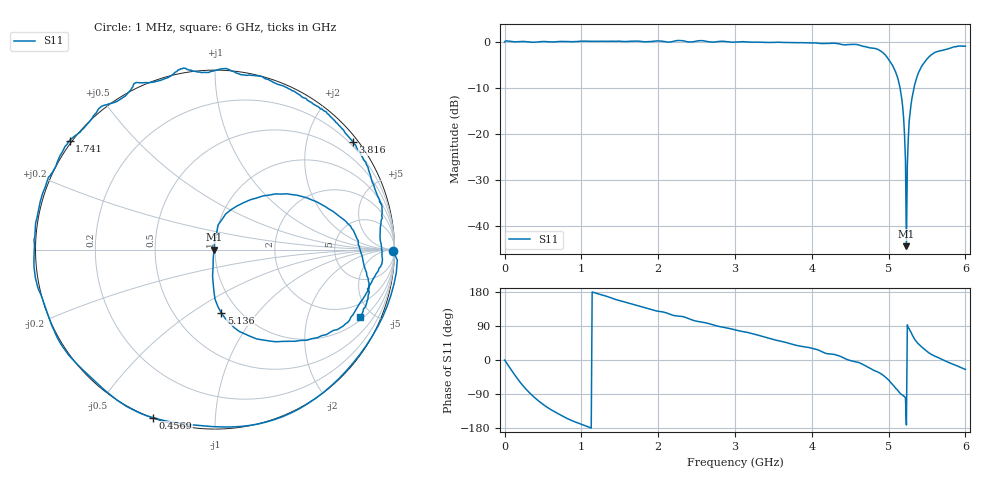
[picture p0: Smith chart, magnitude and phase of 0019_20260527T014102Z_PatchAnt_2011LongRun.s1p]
# Hz S RI R 50
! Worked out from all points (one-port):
!   501 points, 1 MHz to 6 GHz, reference 50 ohm
!   lowest |S11| = -44.4 dB at 5.232 GHz (marker M1), VSWR 1.01, Z = 49.4 - j0.0884 ohm
!   |S11| at or under -10 dB: 5.149 GHz to 5.332 GHz (182.8 MHz wide, 3.49 % of centre)
!   S11 on the Smith chart (normalised r, x): 1 MHz: open; 456.9 MHz: 0.00, -0.70; 1.741 GHz: -0.01, +0.33; 3.816 GHz: 0.13, +2.91; 5.136 GHz: 0.83, -0.66; 6 GHz: 1.18, -4.23
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1000000  0.9904 -0.00523
8.4986e7  0.9061 -0.4307
2.28962e8  0.4213 -0.9113
3.12948e8  0.1026 -0.9878
4.56924e8  -0.3467 -0.936
7.56874e8  -0.8561 -0.5303
1.056824e9  -1.007 -0.107
1.50075e9  -0.9282 0.4028
1.74071e9  -0.8103 0.6074
2.256624e9  -0.451 0.9251
3.0005e9  0.181 0.9707
3.756374e9  0.7369 0.6372
3.816364e9  0.7674 0.5973
4.308282e9  0.9304 0.2269
4.50025e9  0.9303 -0.022
4.872188e9  0.6819 -0.4457
5.028162e9  0.3057 -0.5097
5.136144e9  0.0342 -0.351
5.184136e9  -0.00971 -0.1938
5.196134e9  -0.0135 -0.1457
5.208132e9  -0.0108 -0.0948
5.232128e9  -0.00596 -0.000894
5.256124e9  0.00829 0.0868
5.268122e9  0.0167 0.1361
5.292118e9  0.0593 0.1982
5.412098e9  0.399 0.3109
5.628062e9  0.7718 0.1061
6e9  0.8074 -0.3735
